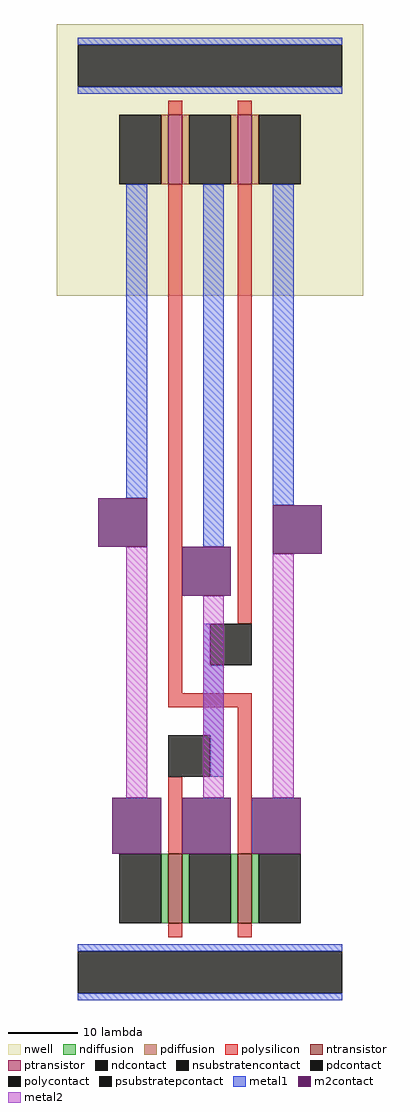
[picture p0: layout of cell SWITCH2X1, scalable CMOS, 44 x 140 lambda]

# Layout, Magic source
magic
tech scmos
<< nwell >>
rect -8 124 36 135
rect -8 96 36 124
<< ntransistor >>
rect 8 6 10 16
rect 18 6 20 16
<< ptransistor >>
rect 8 112 10 122
rect 18 112 20 122
<< ndiffusion >>
rect 7 6 8 16
rect 10 6 11 16
rect 17 6 18 16
rect 20 6 21 16
<< pdiffusion >>
rect 7 112 8 122
rect 10 112 11 122
rect 17 112 18 122
rect 20 112 21 122
<< ndcontact >>
rect 1 6 7 16
rect 11 6 17 16
rect 21 6 27 16
<< pdcontact >>
rect 1 112 7 122
rect 11 112 17 122
rect 21 112 27 122
<< psubstratepcontact >>
rect -5 -4 33 2
<< nsubstratencontact >>
rect -5 126 33 132
<< polysilicon >>
rect 8 122 10 124
rect 18 122 20 124
rect 8 39 10 112
rect 18 49 20 112
rect 8 37 20 39
rect 8 16 10 27
rect 18 16 20 37
rect 8 4 10 6
rect 18 4 20 6
<< polycontact >>
rect 14 43 20 49
rect 8 27 14 33
<< metal1 >>
rect -5 132 33 133
rect -5 125 33 126
rect 2 67 5 112
rect 13 60 16 112
rect 23 66 26 112
rect 13 43 14 49
rect 13 33 16 43
rect 14 27 16 33
rect -5 2 33 3
rect -5 -5 33 -4
<< m2contact >>
rect -2 60 5 67
rect 10 53 17 60
rect 23 59 30 66
rect 0 16 7 24
rect 10 16 17 24
rect 20 16 27 24
<< metal2 >>
rect 2 24 5 60
rect 13 24 16 53
rect 23 24 26 59
<< end >>
